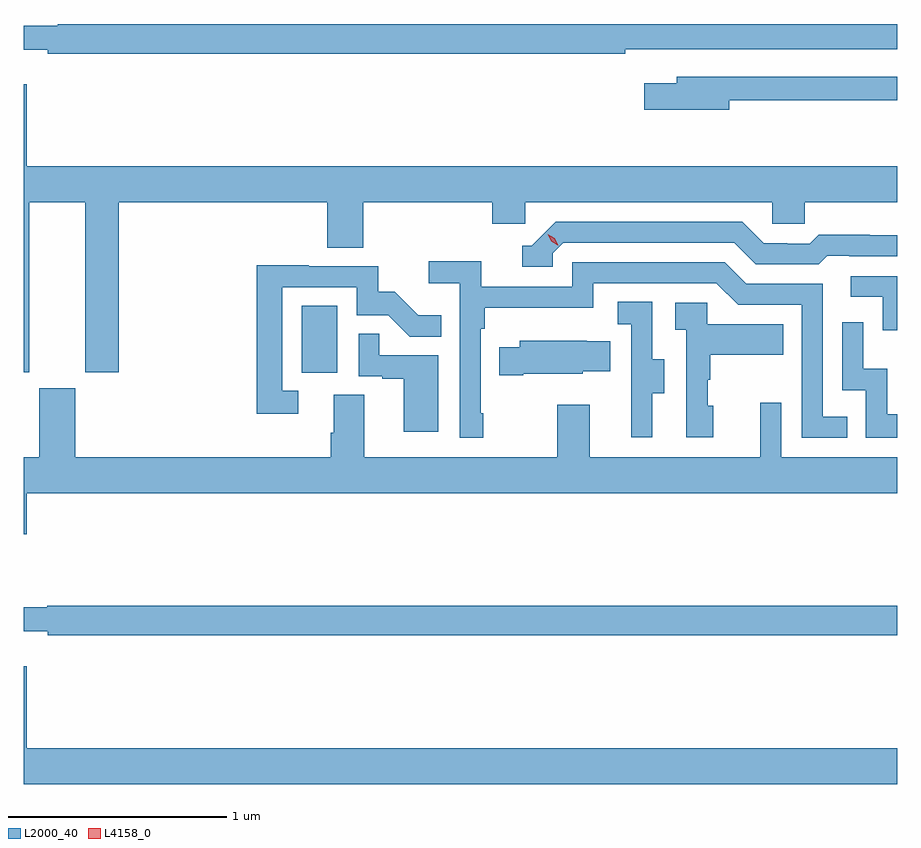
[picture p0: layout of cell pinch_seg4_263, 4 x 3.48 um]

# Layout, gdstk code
import gdstk
lib = gdstk.Library(unit=1e-6, precision=1e-09)
def R(c, l, rs):  # rectangles x0, y0, x1, y1
    for r in rs: c.add(gdstk.rectangle(r[:2], r[2:], *l))
def P(c, l, *ps):  # polygons
    for p in ps: c.add(gdstk.Polygon(p, *l))
L2000_40 = (2000, 40)
L4158_0 = (4158, 0)

pinch_seg4_263 = lib.new_cell('pinch_seg4_263')
R(pinch_seg4_263, L2000_40, [(933.662,812.022,933.826,812.329)])
P(pinch_seg4_263, L2000_40, [(935.144,813.504),(936.39,813.504),(936.39,813.62),(932.545,813.62),(932.545,813.613),(932.39,813.613),(932.39,813.503),(932.5,813.503),(932.5,813.484),(935.144,813.484)],
  [(935.62,813.27),(936.39,813.27),(936.39,813.378),(935.381,813.378),(935.381,813.349),(935.232,813.349),(935.232,813.227),(935.62,813.227)],
  [(932.416,812.804),(932.672,812.804),(932.672,812.025),(932.825,812.025),(932.825,812.804),(933.779,812.804),(933.779,812.596),(933.944,812.596),(933.944,812.804),(934.535,812.804),(934.535,812.706),(934.686,812.706),(934.686,812.804),(935.817,812.804),(935.817,812.706),(935.967,812.706),(935.967,812.804),(936.39,812.804),(936.39,812.968),(932.404,812.968),(932.404,813.343),(932.39,813.343),(932.39,812.025),(932.416,812.025)],
  [(934.812,812.571),(934.86,812.619),(935.643,812.619),(935.742,812.52),(936.031,812.52),(936.07,812.559),(936.169,812.559),(936.169,812.556),(936.39,812.556),(936.39,812.653),(936.264,812.653),(936.264,812.656),(936.031,812.656),(935.989,812.613),(935.886,812.613),(935.886,812.616),(935.779,812.616),(935.68,812.715),(934.827,812.715),(934.716,812.604),(934.673,812.604),(934.673,812.508),(934.812,812.508)],
  [(934.495,811.837),(934.482,811.837),(934.482,812.225),(934.502,812.225),(934.502,812.321),(934.998,812.321),(934.998,812.433),(935.562,812.433),(935.661,812.334),(935.952,812.334),(935.952,811.725),(936.161,811.725),(936.161,811.821),(936.048,811.821),(936.048,812.43),(935.698,812.43),(935.599,812.529),(934.902,812.529),(934.902,812.418),(934.484,812.418),(934.484,812.534),(934.245,812.534),(934.245,812.432),(934.386,812.432),(934.386,811.725),(934.495,811.725)],
  [(933.646,811.941),(933.573,811.941),(933.573,812.415),(933.915,812.415),(933.915,812.286),(934.059,812.286),(934.157,812.188),(934.301,812.188),(934.301,812.287),(934.197,812.287),(934.09,812.394),(934.014,812.394),(934.014,812.511),(933.695,812.511),(933.695,812.516),(933.457,812.516),(933.457,811.836),(933.646,811.836)],
  [(936.39,812.466),(936.177,812.466),(936.177,812.37),(936.324,812.37),(936.324,812.217),(936.39,812.217)],
  [(935.269,811.93),(935.323,811.93),(935.323,812.085),(935.268,812.085),(935.268,812.348),(935.109,812.348),(935.109,812.245),(935.172,812.245),(935.172,811.941),(935.171,811.941),(935.171,811.728),(935.269,811.728)],
  [(935.548,811.872),(935.523,811.872),(935.523,811.991),(935.533,811.991),(935.533,812.105),(935.867,812.105),(935.867,812.245),(935.52,812.245),(935.52,812.343),(935.373,812.343),(935.373,812.219),(935.424,812.219),(935.424,811.728),(935.548,811.728)],
  [(936.39,811.834),(936.344,811.834),(936.344,812.042),(936.234,812.042),(936.234,812.254),(936.138,812.254),(936.138,811.944),(936.246,811.944),(936.246,811.725),(936.39,811.725)],
  [(934.288,812.103),(934.019,812.103),(934.019,812.201),(933.924,812.201),(933.924,812.007),(934.031,812.007),(934.031,811.995),(934.13,811.995),(934.13,811.752),(934.288,811.752)],
  [(934.678,812.018),(934.95,812.018),(934.95,812.03),(935.075,812.03),(935.075,812.167),(934.967,812.167),(934.967,812.17),(934.661,812.17),(934.661,812.14),(934.567,812.14),(934.567,812.011),(934.678,812.011)],
  [(935.762,811.885),(935.762,811.636),(934.981,811.636),(934.981,811.876),(934.834,811.876),(934.834,811.636),(933.949,811.636),(933.949,811.922),(933.809,811.922),(933.809,811.748),(933.797,811.748),(933.797,811.636),(932.626,811.636),(932.626,811.953),(932.462,811.953),(932.462,811.636),(932.39,811.636),(932.39,811.284),(932.404,811.284),(932.404,811.472),(936.39,811.472),(936.39,811.636),(935.859,811.636),(935.859,811.885)],
  [(936.39,810.956),(932.498,810.956),(932.498,810.949),(932.39,810.949),(932.39,810.839),(932.5,810.839),(932.5,810.82),(936.39,810.82)],
  [(936.39,810.304),(932.404,810.304),(932.404,810.679),(932.39,810.679),(932.39,810.14),(936.39,810.14)])
P(pinch_seg4_263, L4158_0, [(934.836,812.606),(934.806,812.625),(934.79,812.657),(934.79,812.658),(934.79,812.658),(934.821,812.638),(934.837,812.606),(934.837,812.606)])

lib.write_gds('pinch_seg4_263.gds')
